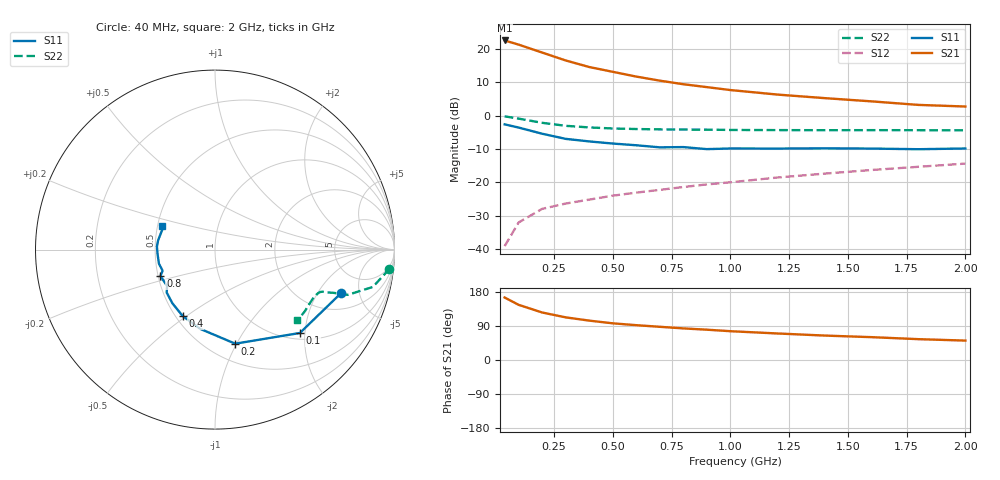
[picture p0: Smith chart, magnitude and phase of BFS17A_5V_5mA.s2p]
! Filename:  BFS17AB.S2P  Version:  2.0
! Philips part #: BFS17A  Date: May 1990
! Bias condition: Vce=5V, Ic=5mA
#  MHz  S  MA  R  50
! Freq  S11  S21  S12  S22  !GUM [dB]
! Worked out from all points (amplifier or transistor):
!   16 points, 40 MHz to 2 GHz, reference 50 ohm
!   highest |S21| = 22.6 dB at 40 MHz (marker M1)
!   |S21| within 3 dB of that: start of sweep to 173.1 MHz
!   unconditionally stable (mu >= 1): 671.9 MHz to end of sweep
!   at 200 MHz: K = 0.47, MSG = 23.5 dB, |S12| = -28.0 dB
!   at 800 MHz: K = 1.03, MAG = 14.3 dB, |S12| = -21.4 dB
!   at 2 GHz: K = 1.03, MAG = 7.5 dB, |S12| = -14.4 dB
!   S11 on the Smith chart (normalised r, x): 40 MHz: 3.01, -3.27; 100 MHz: 1.13, -1.88; 200 MHz: 0.67, -0.99; 400 MHz: 0.54, -0.48; 800 MHz: 0.51, -0.17; 2 GHz: 0.53, +0.16
40  0.742 -19.2  13.48 164.9  0.011 77.4  0.978 -6.3
100  0.663 -44.5  11.66 145.5  0.025 69.0  0.904 -13.3
200  0.536 -77.9  8.864 125.3  0.04 61.2  0.782 -18.8
300  0.449 -100.7  6.748 112.5  0.048 58.1  0.705 -20.0
400  0.411 -116.1  5.379 103.9  0.055 59.3  0.667 -20.9
500  0.382 -128.4  4.56 96.8  0.063 60.5  0.643 -21.4
600  0.36 -138.4  3.867 91.9  0.07 62.5  0.631 -22.0
700  0.335 -142.9  3.359 87.6  0.077 65.0  0.623 -23.0
800  0.338 -154.1  2.97 83.4  0.085 66.3  0.619 -23.9
900  0.315 -158.0  2.687 80.0  0.093 68.6  0.618 -24.8
1000  0.322 -166.0  2.428 76.0  0.1 69.3  0.611 -25.9
1200  0.321 -175.7  2.077 70.0  0.118 71.4  0.608 -28.4
1400  0.324 176.8  1.837 64.5  0.135 72.7  0.606 -31.6
1600  0.321 170.6  1.642 60.3  0.153 74.1  0.607 -34.2
1800  0.314 159.4  1.453 55.0  0.171 75.1  0.606 -37.2
2000  0.322 155.9  1.373 51.2  0.191 75.2  0.603 -40.4
